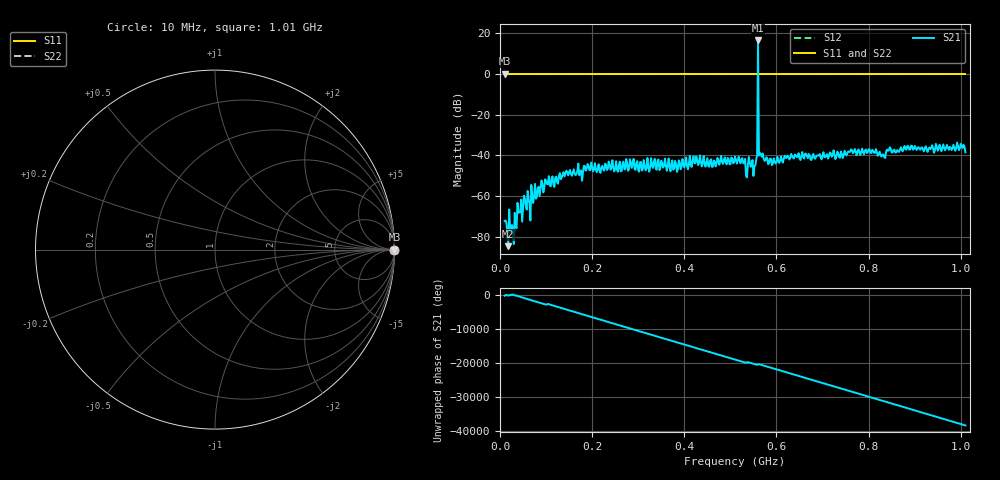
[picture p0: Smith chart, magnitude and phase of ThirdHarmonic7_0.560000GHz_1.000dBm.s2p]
! 8/17/2025 5:07:03 PM
! C:\ANRITSUVNA\TEMP\TEMP.S2P
! CHANNEL.1
! TR.MEASUREMENT
! RAW.DATA
! RF.CORRECTION.OFF
! AVERAGING.OFF
! IF.BANDWIDTH: 5KHZ
! SWEEPTYPE:  FREQ.SWEEP(Linear)
! Reference Plane Port Info
! PORT:  PORT1  PORT2
! DISTANCE:  0  m  0  m
! TIME:  0  s  0  s
! PHASE.OFFSET:  0  deg.  0  deg.
! LOSS:  0  dB  0  dB
! REF.LOSS:  0  dB  0  dB
! REF.FREQ:  0  Hz  0  Hz
! Power Info
! POWER:  -20  dBm  -20  dBm
! EFF.POWER:  -20  dBm  -20  dBm
! SOURCE.ATTEN:  0  dB  0  dB
! TEST.ATTEN:  0  dB  0  dB
# GHZ S RI R 50.0
! FREQ.GHZ  S11RE  S11IM  S21RE  S21IM  S12RE  S12IM  S22RE  S22IM
!; PortSelection: Port_12
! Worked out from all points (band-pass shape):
!   501 points, 10 MHz to 1.01 GHz, reference 50 ohm
!   highest |S21| = 16.22 dB at 560 MHz (marker M1); lowest = -84.4 dB at 18 MHz (marker M2)
!   |S21| within 3 dB of the highest: 559.8927 MHz to 560.1067 MHz (213.9 kHz wide, 0.0382 % of centre)
!   lowest |S11| = 0.0 dB at 10 MHz (marker M3)
!   |S11| at or under -10 dB: nowhere
!   |S22| runs from 0.0 to 0.0 dB; largest |S21 - S12| = 7.3
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0.01  1 0  -0.000229 -0.000102  1 0  1 0
0.018  1 0  -8.9e-06 -5.99e-05  1 0  1 0
0.026  1 0  -8.66e-05 0.000179  1 0  1 0
0.042  1 0  0.000309 -0.000267  1 0  1 0
0.056  1 0  1.29e-05 0.000612  1 0  1 0
0.062  1 0  -0.000855 7.03e-05  1 0  1 0
0.072  1 0  -0.000622 0.000288  1 0  1 0
0.102  1 0  -0.00159 -0.00121  1 0  1 0
0.178  1 0  -0.0024 0.000291  1 0  1 0
0.344  1 0  0.00769 -0.00209  1 0  1 0
0.51  1 0  -0.00886 -0.0029  1 0  1 0
0.554  1 0  -0.00131 -0.00554  1 0  1 0
0.556  1 0  -0.00749 0.00164  1 0  1 0
0.56  1 0  -5.203 -3.848  1 0  1 0
0.564  1 0  -0.00992 -0.00601  1 0  1 0
0.566  1 0  -0.00329 0.0101  1 0  1 0
0.594  1 0  0.00232 0.0081  1 0  1 0
0.678  1 0  0.00662 -0.00711  1 0  1 0
0.766  1 0  0.0111 0.00226  1 0  1 0
0.832  1 0  -0.00506 -0.00928  1 0  1 0
0.844  1 0  -0.00929 0.00953  1 0  1 0
1.01  1 0  0.00319 -0.0115  1 0  1 0
